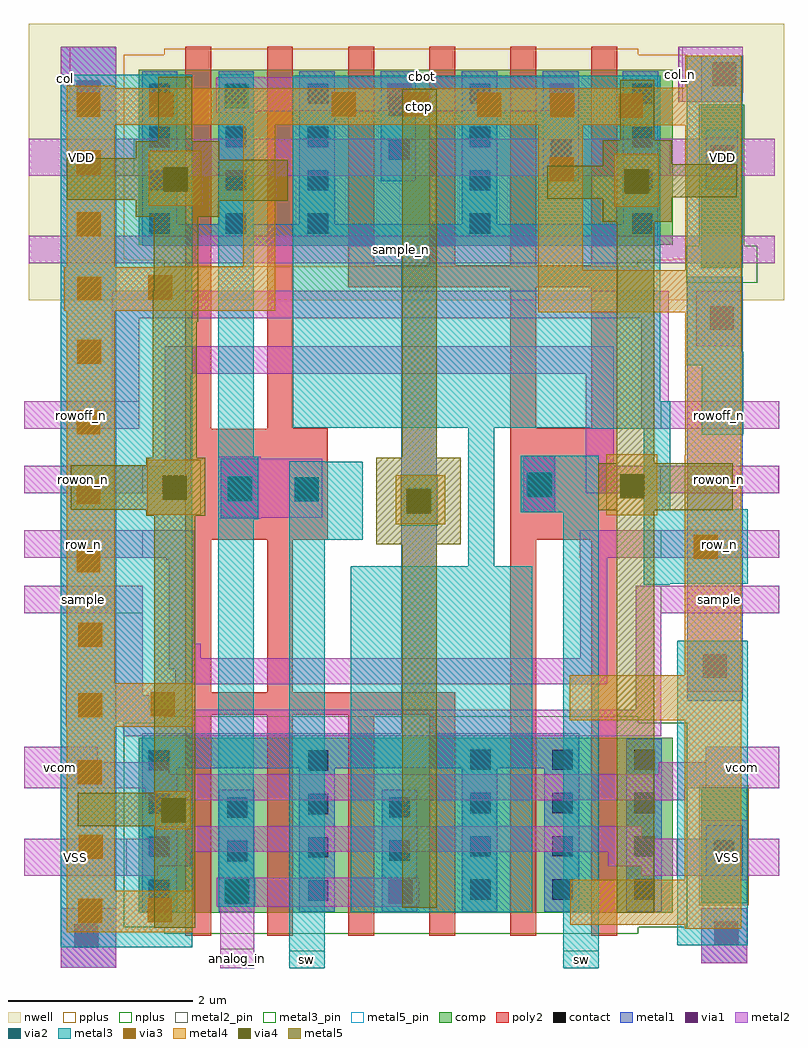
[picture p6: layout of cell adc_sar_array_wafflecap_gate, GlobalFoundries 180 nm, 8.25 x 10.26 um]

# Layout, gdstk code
import gdstk
lib = gdstk.Library(unit=1e-6, precision=1e-09)
def R(c, l, rs):  # rectangles x0, y0, x1, y1
    for r in rs: c.add(gdstk.rectangle(r[:2], r[2:], *l))
def A(c, l, x, y, w, h, nx, ny, dx, dy):  # array of equal rectangles
    R(c, l, [(x+i*dx, y+j*dy, x+i*dx+w, y+j*dy+h) for i in range(nx) for j in range(ny)])
nwell = (21, 0)
comp = (22, 0)
poly2 = (30, 0)
pplus = (31, 0)
nplus = (32, 0)
contact = (33, 0)
metal1 = (34, 0)
via1 = (35, 0)
metal2 = (36, 0)
metal2_pin = (36, 10)
via2 = (38, 0)
via3 = (40, 0)
via4 = (41, 0)
metal3 = (42, 0)
metal3_pin = (42, 10)
metal4 = (46, 0)
metal5 = (81, 0)
metal5_pin = (81, 10)

adc_sar_array_wafflecap_ = lib.new_cell('adc_sar_array_wafflecap_gate')
R(adc_sar_array_wafflecap_, nwell, [(-1.65,-0.6,6.55,2.4)])
R(adc_sar_array_wafflecap_, comp, [(-0.455,-7.25,5.34,-5.35), (5.65,-7.15,6.15,-5.89), (5.65,-0.25,6.1,1.5), (-0.415,-0.01,5.185,0), (-0.455,0,5.34,1.9)])
A(adc_sar_array_wafflecap_, poly2, 0.94, -7.5, 0.28, 2.4, 3, 1, 0.88, 0)
A(adc_sar_array_wafflecap_, poly2, 1.82, -0.22, 0.28, 2.37, 4, 1, 0.88, 0)
R(adc_sar_array_wafflecap_, poly2, [(0.05,-7.5,0.33,-5.1), (3.58,-7.5,3.86,-3.205), (4.46,-7.5,4.74,-3.205), (0.05,-5.1,2.98,-4.86), (0.05,-4.86,0.33,-3.205), (0.94,-4.86,1.22,-3.205), (0.05,-3.205,1.595,-1.995), (3.58,-3.205,4.74,-1.99), (0.05,-1.995,0.33,2.15), (0.94,-1.995,1.595,-1.99), (0.94,-1.99,1.22,2.15), (3.58,-1.99,3.86,-0.46), (4.46,-1.99,4.74,-0.46), (1.82,-0.46,4.75,-0.22)])
R(adc_sar_array_wafflecap_, pplus, [(5.63,-7.17,6.17,-5.87), (-0.18,-0.24,4.97,-0.17), (-0.575,-0.17,5.345,-0.16), (-0.615,-0.16,5.5,2.06), (-0.18,2.06,4.97,2.13)])
R(adc_sar_array_wafflecap_, nplus, [(-0.18,-7.48,4.97,-7.41), (-0.615,-7.41,5.5,-5.19), (-0.18,-5.19,4.97,-5.12), (5.49,-0.41,6.26,-0.01), (5.63,-0.01,6.12,1.52)])
A(adc_sar_array_wafflecap_, contact, 0.505, -7.16, 0.22, 0.22, 1, 3, 0, 0.47)
A(adc_sar_array_wafflecap_, contact, 2.265, -7.155, 0.22, 0.22, 1, 3, 0, 0.47)
A(adc_sar_array_wafflecap_, contact, 1.385, -7.12, 0.22, 0.22, 1, 4, 0, 0.47)
A(adc_sar_array_wafflecap_, contact, -0.345, -7.115, 0.22, 0.22, 1, 4, 0, 0.47)
A(adc_sar_array_wafflecap_, contact, 3.145, -7.11, 0.22, 0.22, 3, 4, 0.89, 0.47)
A(adc_sar_array_wafflecap_, contact, -0.34, 0.12, 0.22, 0.22, 1, 4, 0, 0.47)
A(adc_sar_array_wafflecap_, contact, 0.49, 0.12, 0.22, 0.22, 1, 4, 0, 0.47)
A(adc_sar_array_wafflecap_, contact, 1.38, 0.12, 0.22, 0.22, 3, 4, 1.76, 0.47)
R(adc_sar_array_wafflecap_, contact, [(5.79,-6.685,6.01,-6.465), (0.53,-2.76,0.75,-2.54), (3.78,-2.715,4,-2.495), (5.765,0.815,5.985,1.035), (2.26,0.925,2.48,1.145), (4.02,0.925,4.24,1.145), (2.26,1.395,2.48,1.615), (4.02,1.395,4.24,1.615)])
R(adc_sar_array_wafflecap_, metal1, [(-1.3,-7.85,-0.7,2.15), (5.65,-7.8,6.15,-7.2), (-0.415,-7.24,-0.035,-5.685), (0.415,-7.24,0.8,-5.915), (1.29,-7.24,1.675,-5.685), (2.185,-7.24,2.57,-5.915), (3.05,-7.24,3.435,-5.685), (3.945,-7.24,4.33,-5.685), (4.84,-7.24,5.225,-5.365), (5.7,-6.85,6.1,-6.3), (-0.415,-5.685,4.33,-5.305), (2.395,-5.305,2.78,-0.01), (5.5,-4.95,6.1,-0.35), (0.435,-2.965,0.845,-2.325), (3.695,-2.905,4.06,-2.29), (-0.415,-0.01,5.185,0.22), (-0.415,0.22,-0.035,1.885), (0.415,0.22,0.795,1.885), (1.29,0.22,1.675,1.885), (3.05,0.22,3.435,1.885), (4.8,0.22,5.185,1.885), (5.7,0.6,6.05,1.25), (2.17,0.69,2.555,1.885), (3.93,0.69,4.32,1.885), (5.65,1.55,6.1,1.65), (5.65,1.65,6.11,2.05)])
R(adc_sar_array_wafflecap_, via1, [(-1.155,-7.63,-0.895,-7.37), (5.795,-7.605,6.055,-7.345), (0.485,-7.155,0.745,-6.895), (2.255,-7.155,2.515,-6.895), (5.67,-4.705,5.93,-4.445), (2.465,-2.905,2.725,-2.645), (3.76,-2.735,4.02,-2.475), (5.745,-0.93,6.005,-0.67), (5.75,0.82,6.01,1.08), (2.245,1.49,2.505,1.75), (4.005,1.49,4.265,1.75), (-1.13,1.52,-0.87,1.78), (5.77,1.72,6.03,1.98)])
R(adc_sar_array_wafflecap_, metal2, [(0.43,-7.855,0.8,-7.185), (-1.3,-7.85,-0.7,-7.2), (5.65,-7.8,6.15,-7.2), (0.39,-7.185,2.59,-6.87), (5.65,-6.9,6.15,-6.85), (-1.7,-6.85,-0.25,-6.745), (5,-6.85,6.5,-6.745), (-1.7,-6.745,0.11,-6.59), (4.64,-6.745,6.5,-6.59), (-1.7,-6.59,6.5,-6.45), (-0.265,-6.45,5.005,-6.31), (5.65,-6.45,6.15,-6.25), (-0.385,-6.03,5.47,-5.9), (-1.7,-5.9,6.5,-5.75), (-1.7,-5.75,-0.125,-5.62), (5.19,-5.75,6.5,-5.62), (-1.7,-5.62,-0.9,-5.45), (5.7,-5.62,6.5,-5.45), (-0.62,-5.335,5.22,-5.17), (-0.71,-5.17,5.22,-5.05), (-0.71,-5.05,-0.34,-4.89), (4.94,-5.05,5.22,-4), (-0.71,-4.89,-0.41,-4), (5.5,-4.85,6.1,-4.3), (-0.06,-4.77,4.63,-4.61), (-0.13,-4.61,4.63,-4.49), (-0.13,-4.49,0.22,-4.33), (4.34,-4.49,4.63,-3.4), (-0.13,-4.33,0.15,-3.42), (-1.7,-4,-0.41,-3.7), (4.94,-4,6.5,-3.7), (-0.155,-3.42,0.15,-3.4), (-1.7,-3.4,0.15,-3.1), (4.335,-3.4,6.5,-3.1), (2.395,-3.03,2.78,-2.52), (0.41,-2.975,0.87,-2.965), (0.41,-2.965,1.535,-2.325), (3.72,-2.905,4.065,-2.29), (-1.7,-2.7,0.11,-2.4), (4.4,-2.7,6.5,-2.4), (-0.17,-2.4,0.11,-1.4), (4.4,-2.4,4.7,-1.4), (0.41,-2.325,0.87,-2.3), (-1.7,-2,-0.45,-1.7), (5,-2,6.5,-1.7), (-0.75,-1.7,-0.45,-0.8), (5,-1.7,5.3,-0.8), (-0.17,-1.4,4.7,-1.1), (5.6,-1.1,6.1,-0.5), (-0.75,-0.8,5.3,-0.5), (-1.65,-0.2,6.45,0.1), (5.7,0.74,6.05,0.75), (-1.65,0.75,6.45,1.15), (5.7,1.15,6.05,1.165), (0.385,1.43,0.83,1.45), (-1.3,1.45,-0.7,2.15), (0.385,1.45,4.33,1.82), (5.4,1.55,6.1,1.65), (5.4,1.65,6.11,2.05), (5.4,2.05,6.1,2.15)])
R(adc_sar_array_wafflecap_, metal2_pin, [(0.43,-7.855,0.8,-7.64), (-1.7,-6.85,-0.585,-6.45), (5.385,-6.85,6.5,-6.45), (-1.7,-5.9,-0.9,-5.45), (5.7,-5.9,6.5,-5.45), (-1.7,-4,-0.41,-3.7), (5.21,-4,6.5,-3.7), (-1.7,-3.4,-0.41,-3.1), (5.21,-3.4,6.5,-3.1), (-1.7,-2.7,-0.41,-2.4), (5.205,-2.7,6.495,-2.4), (-1.7,-2,-0.45,-1.7), (5.21,-2,6.5,-1.7), (-1.65,-0.2,6.45,0.1), (-1.65,0.75,-0.505,1.15), (5.31,0.75,6.45,1.15), (-1.3,1.45,-1.2,2.15), (5.405,1.55,5.45,2.15)])
R(adc_sar_array_wafflecap_, via2, [(0.48,-7.15,0.74,-6.89), (2.465,-2.905,2.725,-2.645), (1.24,-2.785,1.5,-2.525), (0.51,-2.78,0.77,-2.52), (3.77,-2.735,4.03,-2.475), (0.48,1.48,0.74,1.74)])
R(adc_sar_array_wafflecap_, via3, [(-1.11,-7.36,-0.85,-7.1), (-0.355,-7.355,-0.095,-7.095), (-1.105,-6.665,-0.845,-6.405), (-1.115,-5.855,-0.855,-5.595), (-1.11,-5.13,-0.85,-4.87), (-0.325,-5.12,-0.065,-4.86), (-1.11,-4.365,-0.85,-4.105), (-1.13,-3.555,-0.87,-3.295), (5.57,-3.41,5.83,-3.15), (2.455,-2.915,2.715,-2.655), (-1.13,-2.815,-0.87,-2.555), (-1.13,-2.055,-0.87,-1.795), (-1.12,-1.29,-0.86,-1.03), (-1.12,-0.605,-0.86,-0.345), (-0.35,-0.59,-0.09,-0.33), (-1.125,0.09,-0.865,0.35), (4.005,0.69,4.265,0.95), (-1.125,0.765,-0.865,1.025), (4.755,1.38,5.015,1.64), (4.015,1.385,4.275,1.645), (-1.13,1.39,-0.87,1.65), (-0.34,1.39,-0.08,1.65), (3.22,1.39,3.48,1.65), (1.64,1.395,1.9,1.655), (2.43,1.395,2.69,1.655)])
R(adc_sar_array_wafflecap_, via4, [(-0.205,-6.27,0.055,-6.01), (2.455,-2.915,2.715,-2.655), (-0.195,-2.77,0.065,-2.51), (4.775,-2.75,5.035,-2.49), (4.82,0.56,5.08,0.82), (-0.185,0.58,0.075,0.84)])
R(adc_sar_array_wafflecap_, metal3, [(1.18,-7.855,1.565,-3.2), (4.155,-7.855,4.54,-2.905), (-1.3,-7.625,0.125,1.845), (5.39,-7.605,6.155,-4.3), (1.845,-7.245,3.815,-3.49), (0.41,-7.185,0.81,-6.87), (0.41,-6.87,0.795,-2.98), (5.025,-3.69,5.31,-3.68), (5.025,-3.68,6.155,-2.87), (3.12,-3.49,3.405,-1.985), (1.18,-3.2,1.975,-2.355), (2.39,-3.05,2.79,-2.495), (0.41,-2.98,0.845,-2.3), (3.695,-2.905,4.54,-2.29), (5.025,-2.87,5.315,-2), (1.18,-2.355,1.565,-2.35), (0.41,-2.3,0.795,1.33), (5.655,-2.065,6.11,-1.31), (4.445,-2,5.315,-1.985), (1.22,-1.985,5.315,-1.7), (1.22,-1.7,5.205,1.835), (5.495,-1.31,6.11,-1.16), (5.495,-1.16,6.095,2.05), (0.415,1.33,0.795,1.85)])
R(adc_sar_array_wafflecap_, metal3_pin, [(1.18,-7.855,1.565,-7.665), (4.155,-7.855,4.54,-7.665)])
R(adc_sar_array_wafflecap_, metal4, [(-1.235,-7.465,0.13,-7.01), (5.475,-7.425,6.085,-7.38), (4.23,-7.38,6.085,-6.895), (-1.235,-7.01,-0.715,-5.23), (5.475,-6.895,6.085,-5.16), (-0.275,-6.345,0.11,-5.93), (-1.24,-5.23,0.13,-4.76), (4.225,-5.16,6.085,-4.675), (-1.235,-4.76,-0.715,-0.715), (5.475,-4.675,6.085,-2.285), (2.335,-3.035,2.875,-2.5), (4.62,-2.935,5.175,-2.275), (-0.36,-2.93,0.22,-2.335), (5.48,-2.285,6.085,-0.735), (3.885,-0.735,6.085,-0.275), (-1.265,-0.715,1.03,-0.245), (3.885,-0.275,4.365,1.3), (5.48,-0.275,6.085,1.295), (-1.235,-0.245,-0.715,1.3), (-0.265,-0.245,1.03,-0.24), (0.68,-0.24,1.03,1.3), (4.705,0.415,5.19,0.985), (-0.345,0.425,0.225,1.02), (4.785,1.295,6.085,1.3), (-1.235,1.3,6.085,1.7), (-1.235,1.7,-0.715,1.725), (4.785,1.7,6.085,1.705), (5.48,1.705,6.085,2.05)])
R(adc_sar_array_wafflecap_, metal5, [(-0.285,-7.415,0.16,-6.31), (4.735,-7.25,5.14,-2.88), (2.405,-7.195,2.78,-3.25), (-1.115,-6.31,0.16,-5.95), (-0.285,-5.95,0.16,-2.94), (2.125,-3.25,3.04,-2.315), (-0.375,-2.94,0.27,-2.875), (4.535,-2.88,5.995,-2.37), (-1.19,-2.875,0.27,-2.395), (-0.375,-2.395,0.27,-2.31), (4.735,-2.37,5.14,0.25), (2.405,-2.315,2.78,1.695), (-0.305,-2.31,0.175,-0.835), (-0.305,-0.835,0.19,-0.505), (-0.29,-0.505,0.19,0.305), (4.58,0.25,5.33,0.5), (-0.485,0.305,0.42,0.475), (-0.485,0.475,1.165,0.49), (-1.235,0.49,1.165,0.925), (3.98,0.5,5.33,0.515), (3.98,0.515,6.035,0.86), (4.58,0.86,6.035,0.875), (4.58,0.875,5.33,1.135), (-1.235,0.925,0.42,0.94), (-0.485,0.94,0.42,1.125), (-0.245,1.125,0.125,1.825), (4.775,1.135,5.14,1.79)])
R(adc_sar_array_wafflecap_, metal5_pin, [(2.405,1.3,2.78,1.695)])
adc_sar_array_wafflecap_.add(gdstk.Label('col', (-1.25,1.8), layer=36, texttype=10))
adc_sar_array_wafflecap_.add(gdstk.Label('col_n', (5.427,1.85), layer=36, texttype=10))
adc_sar_array_wafflecap_.add(gdstk.Label('VDD', (-1.077,0.95), layer=36, texttype=10))
adc_sar_array_wafflecap_.add(gdstk.Label('VDD', (5.88,0.95), layer=36, texttype=10))
adc_sar_array_wafflecap_.add(gdstk.Label('sample_n', (2.4,-0.05), layer=36, texttype=10))
adc_sar_array_wafflecap_.add(gdstk.Label('rowoff_n', (-1.075,-1.85), layer=36, texttype=10))
adc_sar_array_wafflecap_.add(gdstk.Label('rowoff_n', (5.855,-1.85), layer=36, texttype=10))
adc_sar_array_wafflecap_.add(gdstk.Label('rowon_n', (-1.055,-2.55), layer=36, texttype=10))
adc_sar_array_wafflecap_.add(gdstk.Label('rowon_n', (5.85,-2.55), layer=36, texttype=10))
adc_sar_array_wafflecap_.add(gdstk.Label('row_n', (-1.055,-3.25), layer=36, texttype=10))
adc_sar_array_wafflecap_.add(gdstk.Label('row_n', (5.855,-3.25), layer=36, texttype=10))
adc_sar_array_wafflecap_.add(gdstk.Label('sample', (-1.055,-3.85), layer=36, texttype=10))
adc_sar_array_wafflecap_.add(gdstk.Label('sample', (5.855,-3.85), layer=36, texttype=10))
adc_sar_array_wafflecap_.add(gdstk.Label('vcom', (-1.3,-5.675), layer=36, texttype=10))
adc_sar_array_wafflecap_.add(gdstk.Label('vcom', (6.1,-5.675), layer=36, texttype=10))
adc_sar_array_wafflecap_.add(gdstk.Label('VSS', (-1.142,-6.65), layer=36, texttype=10))
adc_sar_array_wafflecap_.add(gdstk.Label('VSS', (5.942,-6.65), layer=36, texttype=10))
adc_sar_array_wafflecap_.add(gdstk.Label('analog_in', (0.615,-7.747), layer=36, texttype=10))
adc_sar_array_wafflecap_.add(gdstk.Label('sw', (1.372,-7.76), layer=42, texttype=10))
adc_sar_array_wafflecap_.add(gdstk.Label('sw', (4.347,-7.76), layer=42, texttype=10))
adc_sar_array_wafflecap_.add(gdstk.Label('ctop', (2.592,1.497), layer=81, texttype=10))
adc_sar_array_wafflecap_.add(gdstk.Label('cbot', (2.63,1.825), layer=42, texttype=10))

lib.write_gds('adc_sar_array_wafflecap_gate.gds')
